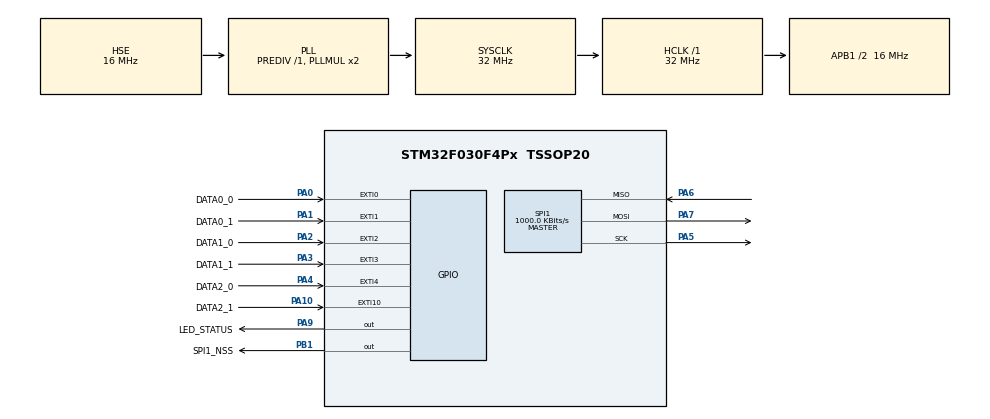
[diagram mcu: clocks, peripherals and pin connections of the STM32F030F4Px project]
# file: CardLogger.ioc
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Mcu.Family=STM32F0
Mcu.Name=STM32F030F4Px
Mcu.Package=TSSOP20
NVIC.EXTI0_1_IRQn=true\:0\:0\:false\:false\:true
NVIC.EXTI2_3_IRQn=true\:0\:0\:false\:false\:true
NVIC.EXTI4_15_IRQn=true\:0\:0\:false\:false\:true
PA0.GPIO_Label=DATA0_0
PA0.Signal=GPXTI0
PA1.GPIO_Label=DATA0_1
PA1.Signal=GPXTI1
PA10.GPIO_Label=DATA2_1
PA10.Signal=GPXTI10
PA13.Mode=Serial_Wire
PA13.Signal=SYS_SWDIO
PA14.Mode=Serial_Wire
PA14.Signal=SYS_SWCLK
PA2.GPIO_Label=DATA1_0
PA2.Signal=GPXTI2
PA3.GPIO_Label=DATA1_1
PA3.Signal=GPXTI3
PA4.GPIO_Label=DATA2_0
PA4.GPIO_ModeDefaultEXTI=GPIO_MODE_IT_FALLING
PA4.Signal=GPXTI4
PA5.Mode=Full_Duplex_Master
PA5.Signal=SPI1_SCK
PA6.Mode=Full_Duplex_Master
PA6.Signal=SPI1_MISO
PA7.Mode=Full_Duplex_Master
PA7.Signal=SPI1_MOSI
PA9.GPIO_Label=LED_STATUS
PA9.GPIO_Speed=GPIO_SPEED_FREQ_LOW
PA9.Signal=GPIO_Output
PB1.GPIO_Label=SPI1_NSS
PB1.GPIO_Speed=GPIO_SPEED_FREQ_HIGH
PB1.Signal=GPIO_Output
PF0-OSC_IN.Mode=HSE-External-Oscillator
PF0-OSC_IN.Signal=RCC_OSC_IN
PF1-OSC_OUT.Mode=HSE-External-Oscillator
PF1-OSC_OUT.Signal=RCC_OSC_OUT
ProjectManager.HeapSize=0x200
ProjectManager.StackSize=0x400
ProjectManager.TargetToolchain=SW4STM32
RCC.AHBFreq_Value=32000000
RCC.APB1CLKDivider=RCC_HCLK_DIV2
RCC.APB1Freq_Value=16000000
RCC.APB1TimFreq_Value=32000000
RCC.HCLKFreq_Value=32000000
RCC.HSE_VALUE=16000000
RCC.PLLSourceVirtual=RCC_PLLSOURCE_HSE
RCC.SYSCLKFreq_VALUE=32000000
RCC.SYSCLKSource=RCC_SYSCLKSOURCE_PLLCLK
RCC.Usart1ClockSelection=RCC_USART1CLKSOURCE_SYSCLK
SPI1.BaudRatePrescaler=SPI_BAUDRATEPRESCALER_16
SPI1.CRCCalculation=SPI_CRCCALCULATION_DISABLE
SPI1.CalculateBaudRate=1000.0 KBits/s
SPI1.DataSize=SPI_DATASIZE_8BIT
SPI1.Direction=SPI_DIRECTION_2LINES
SPI1.Mode=SPI_MODE_MASTER
SPI1.NSSPMode=SPI_NSS_PULSE_DISABLE
SPI1.VirtualType=VM_MASTER
board=CardLogger

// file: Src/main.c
/**
  ******************************************************************************
  * File Name          : main.c
  * Description        : Main program body
  ******************************************************************************
  *
  * COPYRIGHT(c) 2017 STMicroelectronics
  *
  * Redistribution and use in source and binary forms, with or without modification,
  * are permitted provided that the following conditions are met:
  *   1. Redistributions of source code must retain the above copyright notice,
  *      this list of conditions and the following disclaimer.
  *   2. Redistributions in binary form must reproduce the above copyright notice,
  *      this list of conditions and the following disclaimer in the documentation
  *      and/or other materials provided with the distribution.
  *   3. Neither the name of STMicroelectronics nor the names of its contributors
  *      may be used to endorse or promote products derived from this software
  *      without specific prior written permission.
  *
  * THIS SOFTWARE IS PROVIDED BY THE COPYRIGHT HOLDERS AND CONTRIBUTORS "AS IS"
  * AND ANY EXPRESS OR IMPLIED WARRANTIES, INCLUDING, BUT NOT LIMITED TO, THE
  * IMPLIED WARRANTIES OF MERCHANTABILITY AND FITNESS FOR A PARTICULAR PURPOSE ARE
  * DISCLAIMED. IN NO EVENT SHALL THE COPYRIGHT HOLDER OR CONTRIBUTORS BE LIABLE
  * FOR ANY DIRECT, INDIRECT, INCIDENTAL, SPECIAL, EXEMPLARY, OR CONSEQUENTIAL
  * DAMAGES (INCLUDING, BUT NOT LIMITED TO, PROCUREMENT OF SUBSTITUTE GOODS OR
  * SERVICES; LOSS OF USE, DATA, OR PROFITS; OR BUSINESS INTERRUPTION) HOWEVER
  * CAUSED AND ON ANY THEORY OF LIABILITY, WHETHER IN CONTRACT, STRICT LIABILITY,
  * OR TORT (INCLUDING NEGLIGENCE OR OTHERWISE) ARISING IN ANY WAY OUT OF THE USE
  * OF THIS SOFTWARE, EVEN IF ADVISED OF THE POSSIBILITY OF SUCH DAMAGE.
  *
  ******************************************************************************
  */
#include "main.h"
#include "stm32f0xx_hal.h"

/* USER CODE BEGIN Includes */

#define CARDS 3

int32_t reader_id[CARDS] = {2, 4, 6};
uint32_t card_number[CARDS];
uint32_t started_at[CARDS];

#define NET_DATBUFSIZE (1<<6)

#include <string.h>

#define ETH_DISABLED 0
#define ENC28J60 1
#define WIZNET 2

//#define ETH_MODULE ETH_DISABLED
//#define ETH_MODULE ENC28J60
//#define ETH_MODULE WIZNET

#if ETH_MODULE == ENC28J60

#	include "EtherShield.h"

#endif
#if ETH_MODULE == WIZNET

#	define _WIZCHIP_ 5500
#	include "wizchip_conf.h"
#	include "socket.h"

//#	define WIZNET_BURST
//#	define SPI_DMA
#	ifdef SPI_DMA
#		define HAL_SPI_Receive_Auto(a, b, c) HAL_SPI_Receive_DMA(a, b, c)
#		define HAL_SPI_Transmit_Auto(a, b, c) HAL_SPI_Transmit_DMA(a, b, c)
#	else
#		define HAL_SPI_Receive_Auto(a, b, c) HAL_SPI_Receive(a, b, c, 0xffffffff)
#		define HAL_SPI_Transmit_Auto(a, b, c) HAL_SPI_Transmit(a, b, c, 0xffffffff)
#	endif

#	define	NET_LOCAL_PORT	30320
#	define	NET_REMOTE_PORT	30320

#endif

#define error(...) {Error_Handler();}

/* USER CODE END Includes */

SPI_HandleTypeDef hspi1;

/* USER CODE BEGIN PV */
/* Private variables ---------------------------------------------------------*/

uint32_t i=0;
/* USER CODE END PV */

void SystemClock_Config(void);
void Error_Handler(void);
static void MX_GPIO_Init(void);
static void MX_SPI1_Init(void);

/* USER CODE BEGIN PFP */
/* Private function prototypes -----------------------------------------------*/

#if ETH_MODULE != ETH_DISABLED
static uint8_t  remote_mac[] = {0xf2, 0x00, 0x00, 0x0a, 0x00, 0x00};
static uint8_t  remote_ip[]  = {10,  180, 239, 1};
#endif

#if ETH_MODULE == ENC28J60
#	define NET_HEADERS_LENGTH (ETH_HEADER_LEN + IP_HEADER_LEN + UDP_HEADER_LEN)
#	define NET_BUFSIZE (NET_DATBUFSIZE + NET_HEADERS_LENGTH)
#	define net_senddatbuf ((uint8_t *)(&net_sendbuf[NET_HEADERS_LENGTH]))
#else
#	define NET_BUFSIZE NET_DATBUFSIZE
#	define net_senddatbuf net_sendbuf
#endif

static uint8_t net_sendbuf[NET_BUFSIZE];

#if ETH_MODULE == ENC28J60

void ES_PingCallback(void) {
}
uint16_t get_udp_data_len(uint8_t *buf)
{
	int16_t i;
	i=(((int16_t)buf[IP_TOTLEN_H_P])<<8)|(buf[IP_TOTLEN_L_P]&0xff);
	i-=IP_HEADER_LEN;
	i-=8;
	if (i<=0){
		i=0;
	}
	return((uint16_t)i);
}
static uint16_t info_data_len = 0;
uint16_t packetloop_icmp_udp(uint8_t *buf,uint16_t plen)
{
	if(eth_type_is_arp_and_my_ip(buf,plen)){
		if (buf[ETH_ARP_OPCODE_L_P]==ETH_ARP_OPCODE_REQ_L_V){
			// is it an arp request
			make_arp_answer_from_request(buf);
		}
		return 0;
	}
	// check if ip packets are for us:
	if(eth_type_is_ip_and_my_ip(buf,plen)==0){
		return 0;
	}
	if(buf[IP_PROTO_P]==IP_PROTO_ICMP_V && buf[ICMP_TYPE_P]==ICMP_TYPE_ECHOREQUEST_V){
		make_echo_reply_from_request(buf,plen);
		return 0;
	}
	if (buf[IP_PROTO_P]==IP_PROTO_UDP_V) {
		info_data_len=get_udp_data_len(buf);
		return(IP_HEADER_LEN+8+14);
	}
	return 0;
}

uint8_t net_recvbuf[NET_BUFSIZE + 1];
/*void HAL_Delay(__IO uint32_t Delay)
{
	uint32_t tickstart = 0;
	tickstart = HAL_GetTick();
	while((HAL_GetTick() - tickstart) < Delay)
	{
		packetloop_icmp_udp(net_recvbuf, ES_enc28j60PacketReceive(NET_BUF_SIZE, net_recvbuf));
	}
}*/

static uint8_t   local_mac[] = {0x02, 0x00, 0x04, 0x05, 0x01, 0x03};
static uint8_t   local_ip[]  = {10,  180, 239, 3};
static void eth_init() {
	/*ETHERNET_LED_GPIO->BSRR = ETHERNET_LED_PIN;
	HAL_Delay(1000);
	ETHERNET_LED_GPIO->BSRR = ETHERNET_LED_PIN << 16;*/

	ES_enc28j60SpiInit(&hspi1);
	ES_enc28j60Init(local_mac);
	uint8_t enc28j60_rev = ES_enc28j60Revision();
	if (enc28j60_rev <= 0)
		error(2);
	ES_init_ip_arp_udp_tcp(local_mac, local_ip, 80);

	return;
}

static void send(int32_t reader_id, int len) {
	ES_send_udp_data2(net_sendbuf, remote_mac, len, 26517+reader_id, remote_ip, 36400);
}

#endif
#if ETH_MODULE == WIZNET

static void w5500_cs_select() {
	ETHERNET_LED_GPIO->BSRR = ETHERNET_LED_PIN;
	HAL_GPIO_WritePin(ETHERNET_CS_GPIO, ETHERNET_CS_PIN, GPIO_PIN_RESET); //CS LOW
}

static void w5500_cs_deselect() {
	HAL_GPIO_WritePin(ETHERNET_CS_GPIO, ETHERNET_CS_PIN, GPIO_PIN_SET); //CS HIGH
	ETHERNET_LED_GPIO->BSRR = ETHERNET_LED_PIN << 16;
}

#ifdef WIZNET_BURST
static void w5500_read_burst(uint8_t *pBuf, uint16_t len) {
	HAL_SPI_Receive_Auto(&hspi1, pBuf, len);
	return;
}

static void w5500_write_burst(uint8_t *pBuf, uint16_t len) {
	HAL_SPI_Transmit_Auto(&hspi1, pBuf, len);
	return;
}
#endif

static void w5500_write(uint8_t b) {
	HAL_SPI_Transmit_Auto(&hspi1, &b, 1);
}
static uint8_t w5500_read(void) {
	uint8_t rbuf;
	HAL_SPI_Receive_Auto(&hspi1, &rbuf, 1);
	return rbuf;
}
static int open_net_socket(uint8_t sock_id)
{
	uint8_t sd, sck_state;
	sd = socket(sock_id, Sn_MR_UDP, NET_LOCAL_PORT, 0);//SF_IO_NONBLOCK);
	if(sd != sock_id) {
		error(8);
	}
	do {
		getsockopt(sd , SO_STATUS, &sck_state);
	} while (sck_state != SOCK_UDP);
	return sd;
}

uint8_t bufSize[2][8] = { {2,2,2,2,2,2,2,2},{2,2,2,2,2,2,2,2}};

static int net;
static void eth_init() {

	reg_wizchip_cs_cbfunc(w5500_cs_select, w5500_cs_deselect);
#ifdef W5500_BURST
	reg_wizchip_spiburst_cbfunc(w5500_read_burst, w5500_write_burst);
#endif
	reg_wizchip_spi_cbfunc(w5500_read, w5500_write);
#if _WIZCHIP_ == 5500
	wizphy_reset();
#endif
	if (wizchip_init(bufSize[0], bufSize[1]) != 0)
		error(2);

	wiz_NetInfo netInfo = { .mac 	= {0x02, 0x00, 0x04, 0x05, 0x01, 0x02},			// MAC address
				.ip 	= {10, 180, 239, 2},					// IP address
				.sn 	= {255, 255, 255, 0},					// IP netmask
				.gw 	= {10, 180, 239, 1}};					// IP gateway

#if _WIZCHIP_ != 5100
	uint8_t tmp;
	do {
		tmp = wizphy_getphylink();
		if (tmp == -1) {
			error(4);
		}
	} while (tmp == PHY_LINK_OFF);
#endif

	wizchip_setnetinfo(&netInfo);

	net = open_net_socket(0);
	return;
}

static void send(int32_t reader_id, int len) {
	#error not implemented, yet
	// TODO: use different source port for differed reader_id

	sendto(net_sendbuf, len, remote_ip, NET_REMOTE_PORT);
}

#endif

#if ETH_MODULE != WIZNET && ETH_MODULE != ENC28J60
#	error Ethernet is disabled!

static void eth_init() {
}

static void send(int32_t reader_id, int len) {
}

#endif

static void sendSpecialPackage(char c) {
	net_senddatbuf[0] = 0xfe;
	net_senddatbuf[1] = 0xfe;
	net_senddatbuf[2] = 0xfe;
	net_senddatbuf[3] = 0xfe;
	send(-1, 4);
	net_senddatbuf[0] = 0xff;
	net_senddatbuf[1] = 0xfe;
	net_senddatbuf[2] = 0xfd;
	net_senddatbuf[3] = 0xfc;
}

/*static void sendErrorPackage(char c) {
	sendSpecialPackage(0xfd);
}*/

static void sendAlivePackage() {
	sendSpecialPackage(0xfe);
}

/* USER CODE END PFP */

/* USER CODE BEGIN 0 */

void gotBit(uint8_t card_idx, uint8_t bitValue) {
	if (started_at[card_idx] == 0) {
		started_at[card_idx] = HAL_GetTick();
	}

	card_number[card_idx] <<= 1;

	if (bitValue) {
		card_number[card_idx] |= 1;
	}

	return;
}

void HAL_GPIO_EXTI_Callback(uint16_t GPIO_Pin) {
	switch (GPIO_Pin) {
		case DATA0_0_Pin:
			gotBit(0, 0);
			break;
		case DATA0_1_Pin:
			gotBit(0, 1);
			break;
		case DATA1_0_Pin:
			gotBit(1, 0);
			break;
		case DATA1_1_Pin:
			gotBit(1, 1);
			break;
		case DATA2_0_Pin:
			gotBit(2, 0);
			break;
		case DATA2_1_Pin:
			gotBit(2, 1);
			break;
	}

	return;
}

/* USER CODE END 0 */

int main(void)
{

  /* MCU Configuration----------------------------------------------------------*/

  /* Reset of all peripherals, Initializes the Flash interface and the Systick. */
  HAL_Init();

  /* Configure the system clock */
  SystemClock_Config();

  /* Initialize all configured peripherals */
  MX_GPIO_Init();
  MX_SPI1_Init();

  /* USER CODE BEGIN 2 */
	GPIOA->BSRR = LED_STATUS_Pin;
	HAL_Delay(250);
	GPIOA->BSRR = LED_STATUS_Pin << 16;
	HAL_Delay(250);

	ETHERNET_LED_GPIO->BSRR = ETHERNET_LED_PIN;
	eth_init();

	GPIOA->BSRR = LED_STATUS_Pin;

	sendAlivePackage();

  /* USER CODE END 2 */

  /* Infinite loop */
  /* USER CODE BEGIN WHILE */

	int card_idx = 0;
	while (card_idx < CARDS) {
		card_number[card_idx++] = 0;
	}

	uint32_t previousAliveTick = 0;

	while (1) {
		packetloop_icmp_udp(net_recvbuf, ES_enc28j60PacketReceive(sizeof(net_sendbuf)-1, net_recvbuf));

		uint32_t currentTick = HAL_GetTick();

		/*if (currentTick >= 1000 * (3600 * 24 + 60)) { // Periodically reboot just in case
			NVIC_SystemReset();
		}*/

		int card_idx = 0;
		while (card_idx < CARDS) {
			if (started_at[card_idx] && (currentTick - started_at[card_idx] >= 200)) {
				started_at[card_idx] = 0;
				break;
			}
			card_idx++;
		}

		if (card_idx >= CARDS) {
			if (currentTick - previousAliveTick > 1000) {
				previousAliveTick = currentTick;
				sendAlivePackage();
			}
			continue;
		}

		card_number[card_idx] >>= 1;

		/*if (!card_number[card_idx]) {
			sendErrorPackage();
			continue;
		}*/

		memcpy(&net_senddatbuf[4+sizeof(card_number[card_idx])*0], &card_number[card_idx], sizeof(card_number[card_idx]));
		memcpy(&net_senddatbuf[4+sizeof(card_number[card_idx])*1], &card_number[card_idx], sizeof(card_number[card_idx]));	// On case of data corruption
		memcpy(&net_senddatbuf[4+sizeof(card_number[card_idx])*2], &card_number[card_idx], sizeof(card_number[card_idx]));	// On case of data corruption

		send(reader_id[card_idx], 4+3*sizeof(card_number[card_idx]));

		card_number[card_idx] = 0;

	}
  /* USER CODE END WHILE */

}

/** System Clock Configuration
*/
void SystemClock_Config(void)
{

  RCC_OscInitTypeDef RCC_OscInitStruct;
  RCC_ClkInitTypeDef RCC_ClkInitStruct;

    /**Initializes the CPU, AHB and APB busses clocks
    */
  RCC_OscInitStruct.OscillatorType = RCC_OSCILLATORTYPE_HSE;
  RCC_OscInitStruct.HSEState = RCC_HSE_ON;
  RCC_OscInitStruct.HSIState = RCC_HSI_ON;
  RCC_OscInitStruct.PLL.PLLState = RCC_PLL_ON;
  RCC_OscInitStruct.PLL.PLLSource = RCC_PLLSOURCE_HSE;
  RCC_OscInitStruct.PLL.PLLMUL = RCC_PLL_MUL2;
  RCC_OscInitStruct.PLL.PREDIV = RCC_PREDIV_DIV1;
  if (HAL_RCC_OscConfig(&RCC_OscInitStruct) != HAL_OK)
  {
    Error_Handler();
  }

    /**Initializes the CPU, AHB and APB busses clocks
    */
  RCC_ClkInitStruct.ClockType = RCC_CLOCKTYPE_HCLK|RCC_CLOCKTYPE_SYSCLK
                              |RCC_CLOCKTYPE_PCLK1;
  RCC_ClkInitStruct.SYSCLKSource = RCC_SYSCLKSOURCE_PLLCLK;
  RCC_ClkInitStruct.AHBCLKDivider = RCC_SYSCLK_DIV1;
  RCC_ClkInitStruct.APB1CLKDivider = RCC_HCLK_DIV2;

  if (HAL_RCC_ClockConfig(&RCC_ClkInitStruct, FLASH_LATENCY_1) != HAL_OK)
  {
    Error_Handler();
  }

    /**Configure the Systick interrupt time
    */
  HAL_SYSTICK_Config(HAL_RCC_GetHCLKFreq()/1000);

    /**Configure the Systick
    */
  HAL_SYSTICK_CLKSourceConfig(SYSTICK_CLKSOURCE_HCLK);

  /* SysTick_IRQn interrupt configuration */
  HAL_NVIC_SetPriority(SysTick_IRQn, 0, 0);
}

/* SPI1 init function */
static void MX_SPI1_Init(void)
{

  hspi1.Instance = SPI1;
  hspi1.Init.Mode = SPI_MODE_MASTER;
  hspi1.Init.Direction = SPI_DIRECTION_2LINES;
  hspi1.Init.DataSize = SPI_DATASIZE_8BIT;
  hspi1.Init.CLKPolarity = SPI_POLARITY_LOW;
  hspi1.Init.CLKPhase = SPI_PHASE_1EDGE;
  hspi1.Init.NSS = SPI_NSS_SOFT;
  hspi1.Init.BaudRatePrescaler = SPI_BAUDRATEPRESCALER_16;
  hspi1.Init.FirstBit = SPI_FIRSTBIT_MSB;
  hspi1.Init.TIMode = SPI_TIMODE_DISABLE;
  hspi1.Init.CRCCalculation = SPI_CRCCALCULATION_DISABLE;
  hspi1.Init.CRCPolynomial = 7;
  hspi1.Init.CRCLength = SPI_CRC_LENGTH_DATASIZE;
  hspi1.Init.NSSPMode = SPI_NSS_PULSE_DISABLE;
  if (HAL_SPI_Init(&hspi1) != HAL_OK)
  {
    Error_Handler();
  }

}

/** Configure pins as
        * Analog
        * Input
        * Output
        * EVENT_OUT
        * EXTI
*/
static void MX_GPIO_Init(void)
{

  GPIO_InitTypeDef GPIO_InitStruct;

  /* GPIO Ports Clock Enable */
  __HAL_RCC_GPIOF_CLK_ENABLE();
  __HAL_RCC_GPIOA_CLK_ENABLE();
  __HAL_RCC_GPIOB_CLK_ENABLE();

  /*Configure GPIO pin Output Level */
  HAL_GPIO_WritePin(SPI1_NSS_GPIO_Port, SPI1_NSS_Pin, GPIO_PIN_RESET);

  /*Configure GPIO pin Output Level */
  HAL_GPIO_WritePin(LED_STATUS_GPIO_Port, LED_STATUS_Pin, GPIO_PIN_RESET);

  /*Configure GPIO pins : DATA0_0_Pin DATA0_1_Pin DATA1_0_Pin DATA1_1_Pin
                           DATA2_1_Pin */
  GPIO_InitStruct.Pin = DATA0_0_Pin|DATA0_1_Pin|DATA1_0_Pin|DATA1_1_Pin
                          |DATA2_1_Pin;
  GPIO_InitStruct.Mode = GPIO_MODE_IT_RISING;
  GPIO_InitStruct.Pull = GPIO_NOPULL;
  HAL_GPIO_Init(GPIOA, &GPIO_InitStruct);

  /*Configure GPIO pin : DATA2_0_Pin */
  GPIO_InitStruct.Pin = DATA2_0_Pin;
  GPIO_InitStruct.Mode = GPIO_MODE_IT_FALLING;
  GPIO_InitStruct.Pull = GPIO_NOPULL;
  HAL_GPIO_Init(DATA2_0_GPIO_Port, &GPIO_InitStruct);

  /*Configure GPIO pin : SPI1_NSS_Pin */
  GPIO_InitStruct.Pin = SPI1_NSS_Pin;
  GPIO_InitStruct.Mode = GPIO_MODE_OUTPUT_PP;
  GPIO_InitStruct.Pull = GPIO_NOPULL;
  GPIO_InitStruct.Speed = GPIO_SPEED_FREQ_HIGH;
  HAL_GPIO_Init(SPI1_NSS_GPIO_Port, &GPIO_InitStruct);

  /*Configure GPIO pin : LED_STATUS_Pin */
  GPIO_InitStruct.Pin = LED_STATUS_Pin;
  GPIO_InitStruct.Mode = GPIO_MODE_OUTPUT_PP;
  GPIO_InitStruct.Pull = GPIO_NOPULL;
  GPIO_InitStruct.Speed = GPIO_SPEED_FREQ_LOW;
  HAL_GPIO_Init(LED_STATUS_GPIO_Port, &GPIO_InitStruct);

  /* EXTI interrupt init*/
  HAL_NVIC_SetPriority(EXTI0_1_IRQn, 0, 0);
  HAL_NVIC_EnableIRQ(EXTI0_1_IRQn);

  HAL_NVIC_SetPriority(EXTI2_3_IRQn, 0, 0);
  HAL_NVIC_EnableIRQ(EXTI2_3_IRQn);

  HAL_NVIC_SetPriority(EXTI4_15_IRQn, 0, 0);
  HAL_NVIC_EnableIRQ(EXTI4_15_IRQn);

}

void Error_Handler(void)
{
  /* USER CODE BEGIN Error_Handler */
  /* User can add his own implementation to report the HAL error return state */
	ETHERNET_LED_GPIO->BSRR = ETHERNET_LED_PIN;
	GPIOA->BSRR = LED_STATUS_Pin << 16;
	while(1)
	{
	}
  /* USER CODE END Error_Handler */
}

/************************ (C) COPYRIGHT STMicroelectronics *****END OF FILE****/
